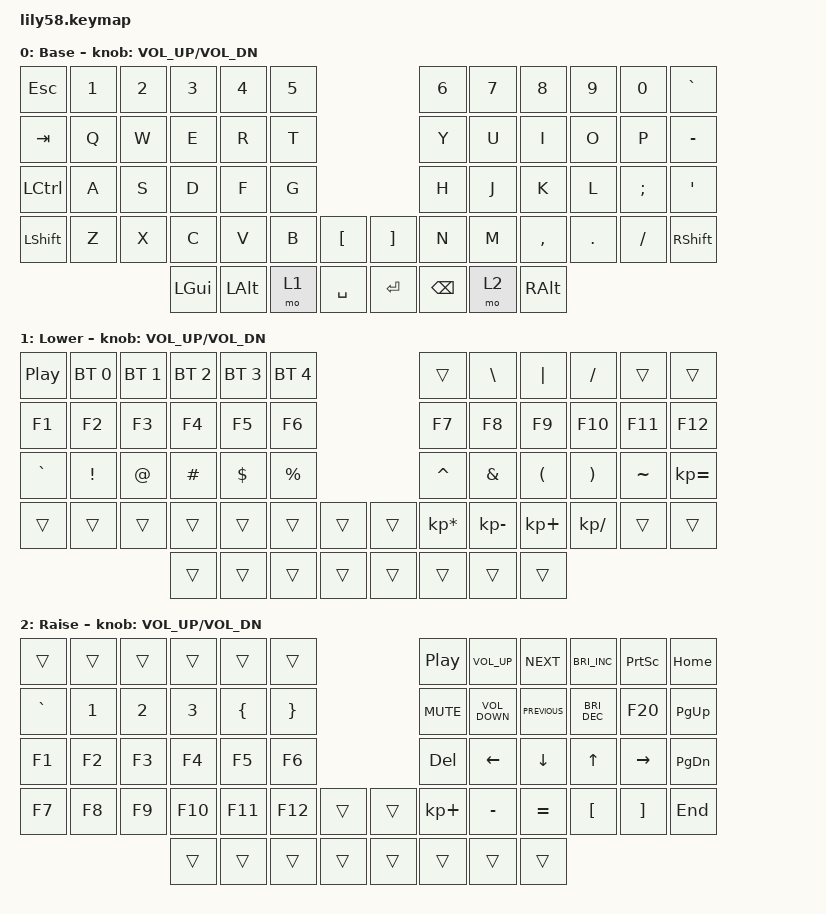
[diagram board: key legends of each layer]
/*
 * Copyright (c) 2020 The ZMK Contributors
 *
 * SPDX-License-Identifier: MIT
 */

#include <behaviors.dtsi>
#include <dt-bindings/zmk/bt.h>
#include <dt-bindings/zmk/keys.h>

/ {
    combos {
        compatible = "zmk,combos";

        change-language {
            bindings = <&kp LG(SPACE)>;
            key-positions = <56 52>;
            slow-release;
            require-prior-idle-ms = <0>;
            timeout-ms = <80>;
        };

        discord.mute-toggle {
            bindings = <&kp RA(F20)>;
            key-positions = <57 11>;
        };

        clear-bluetooth-profile {
            bindings = <&bt BT_CLR>;
            key-positions = <36 0 11 49>;
        };
    };

    keymap {
        compatible = "zmk,keymap";

        default_layer {
            // ------------------------------------------------------------------------------------------------------------
            // |  ESC  |  1  |  2  |  3   |  4   |  5   |                   |  6   |  7    |  8    |  9   |   0   |   `   |
            // |  TAB  |  Q  |  W  |  E   |  R   |  T   |                   |  Y   |  U    |  I    |  O   |   P   |   -   |
            // |  CTRL |  A  |  S  |  D   |  F   |  G   |                   |  H   |  J    |  K    |  L   |   ;   |   '   |
            // | SHIFT |  Z  |  X  |  C   |  V   |  B   |   "["  |  |  "]"  |  N   |  M    |  ,    |  .   |   /   | SHIFT |
            //                     | ALT  | GUI  | LOWER|  SPACE |  | ENTER | RAISE| BSPC  | GUI   |

            display-name = "Base";
            bindings = <
&kp ESC    &kp N1  &kp N2  &kp N3        &kp N4        &kp N5                         &kp N6         &kp N7  &kp N8         &kp N9   &kp N0    &kp GRAVE
&kp TAB    &kp Q   &kp W   &kp E         &kp R         &kp T                          &kp Y          &kp U   &kp I          &kp O    &kp P     &kp MINUS
&kp LCTRL  &kp A   &kp S   &kp D         &kp F         &kp G                          &kp H          &kp J   &kp K          &kp L    &kp SEMI  &kp SQT
&kp LSHFT  &kp Z   &kp X   &kp C         &kp V         &kp B   &kp LBKT     &kp RBKT  &kp N          &kp M   &kp COMMA      &kp DOT  &kp FSLH  &kp RSHFT
                           &kp LEFT_GUI  &kp LEFT_ALT  &mo 1   &kp SPACE    &kp RET   &kp BACKSPACE  &mo 2   &kp RIGHT_ALT
            >;

            sensor-bindings = <&inc_dec_kp C_VOL_UP C_VOL_DN>;
        };

        lower_layer {
            // ------------------------------------------------------------------------------------------------------------
            // | BTCLR | BT1 | BT2 |  BT3 |  BT4 |  BT5 |                   |      |       |       |      |       |       |
            // |  F1   |  F2 |  F3 |  F4  |  F5  |  F6  |                   |  F7  |  F8   |  F9   |  F10 |  F11  |  F12  |
            // |   `   |  !  |  @  |  #   |  $   |  %   |                   |  ^   |  &    |  *    |  (   |   )   |   ~   |
            // |       |     |     |      |      |      |        |  |       |      |  _    |  +    |  {   |   }   |  "|"  |
            //                     |      |      |      |        |  |       |      |       |       |

            display-name = "Lower";
            bindings = <
&kp C_PP   &bt BT_SEL 0  &bt BT_SEL 1  &bt BT_SEL 2  &bt BT_SEL 3  &bt BT_SEL 4                    &trans           &kp BACKSLASH  &kp PIPE     &kp SLASH      &trans     &trans
&kp F1     &kp F2        &kp F3        &kp F4        &kp F5        &kp F6                          &kp F7           &kp F8         &kp F9       &kp F10        &kp F11    &kp F12
&kp GRAVE  &kp EXCL      &kp AT        &kp HASH      &kp DOLLAR    &kp PRCNT                       &kp CARET        &kp AMPS       &kp LPAR     &kp RPAR       &kp TILDE  &kp KP_EQUAL
&trans     &trans        &trans        &trans        &trans        &trans        &trans    &trans  &kp KP_MULTIPLY  &kp KP_MINUS   &kp KP_PLUS  &kp KP_DIVIDE  &trans     &trans
                                       &trans        &trans        &trans        &trans    &trans  &trans           &trans         &trans
            >;

            sensor-bindings = <&inc_dec_kp C_VOL_UP C_VOL_DN>;
        };

        raise_layer {
            // ------------------------------------------------------------------------------------------------------------
            // |       |     |     |      |      |      |                   |      |       |       |      |       |       |
            // |   `   |  1  |  2  |  3   |  4   |  5   |                   |  6   |   7   |   8   |  9   |   0   |       |
            // |   F1  |  F2 |  F3 |  F4  |  F5  |  F6  |                   |      |   <-  |   v   |  ^   |  ->   |       |
            // |   F7  |  F8 |  F9 |  F10 |  F11 |  F12 |        |  |       |  +   |   -   |   =   |  [   |   ]   |   \   |
            //                     |      |      |      |        |  |       |      |       |       |

            display-name = "Raise";
            bindings = <
&trans     &trans  &trans  &trans   &trans    &trans                      &kp C_PLAY_PAUSE  &kp C_VOLUME_UP    &kp C_NEXT      &kp C_BRIGHTNESS_INC  &kp PRINTSCREEN  &kp HOME
&kp GRAVE  &kp N1  &kp N2  &kp N3   &kp LBRC  &kp RBRC                    &kp C_MUTE        &kp C_VOLUME_DOWN  &kp C_PREVIOUS  &kp C_BRIGHTNESS_DEC  &kp F20          &kp PAGE_UP
&kp F1     &kp F2  &kp F3  &kp F4   &kp F5    &kp F6                      &kp DELETE        &kp LEFT           &kp DOWN        &kp UP                &kp RIGHT        &kp PAGE_DOWN
&kp F7     &kp F8  &kp F9  &kp F10  &kp F11   &kp F12   &trans    &trans  &kp KP_PLUS       &kp MINUS          &kp EQUAL       &kp LBKT              &kp RBKT         &kp END
                           &trans   &trans    &trans    &trans    &trans  &trans            &trans             &trans
            >;

            sensor-bindings = <&inc_dec_kp C_VOL_UP C_VOL_DN>;
        };

        extra_1 { status = "reserved"; };

        extra_2 { status = "reserved"; };

        extra_3 { status = "reserved"; };
    };
};
